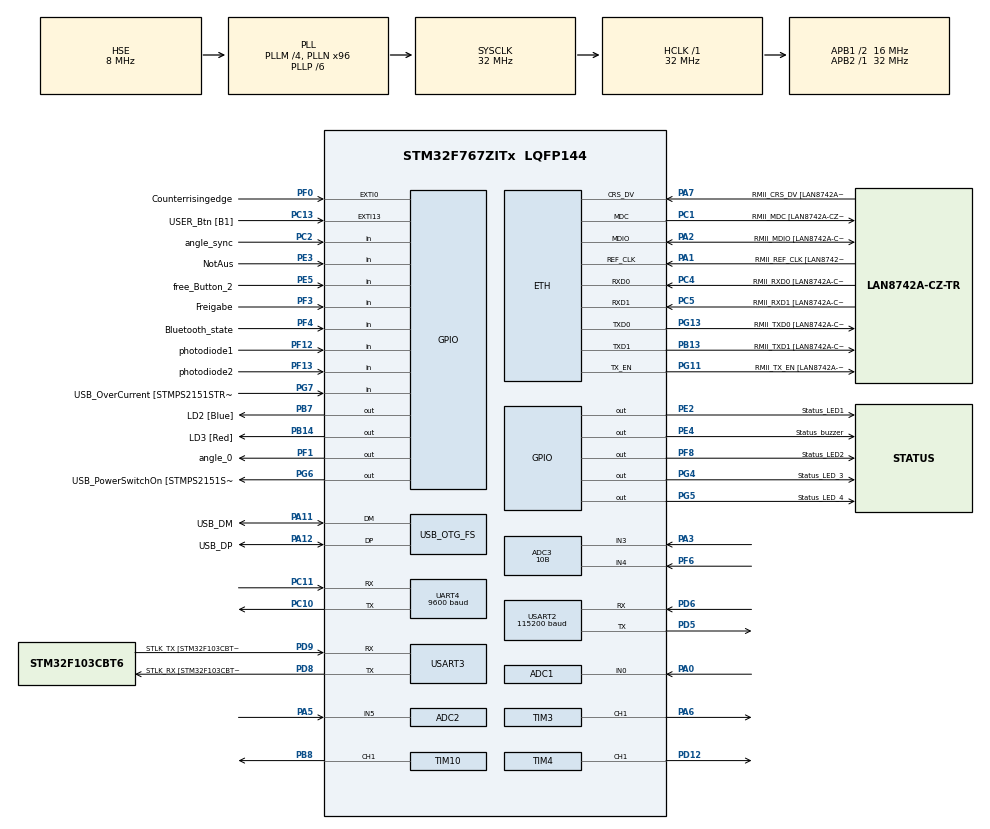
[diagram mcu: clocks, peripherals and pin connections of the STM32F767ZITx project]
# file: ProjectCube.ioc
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ADC1.Channel-1\#ChannelRegularConversion=ADC_CHANNEL_0
ADC1.ClockPrescaler=ADC_CLOCK_SYNC_PCLK_DIV4
ADC1.NbrOfConversion=1
ADC1.NbrOfConversionFlag=1
ADC1.Rank-1\#ChannelRegularConversion=1
ADC1.Resolution=ADC_RESOLUTION_10B
ADC1.SamplingTime-1\#ChannelRegularConversion=ADC_SAMPLETIME_28CYCLES
ADC1.master=1
ADC2.Channel-1\#ChannelRegularConversion=ADC_CHANNEL_5
ADC2.ClockPrescaler=ADC_CLOCK_SYNC_PCLK_DIV4
ADC2.NbrOfConversionFlag=1
ADC2.Rank-1\#ChannelRegularConversion=1
ADC2.SamplingTime-1\#ChannelRegularConversion=ADC_SAMPLETIME_56CYCLES
ADC3.Channel-1\#ChannelRegularConversion=ADC_CHANNEL_3
ADC3.Channel-2\#ChannelRegularConversion=ADC_CHANNEL_4
ADC3.ClockPrescaler=ADC_CLOCK_SYNC_PCLK_DIV4
ADC3.DMAContinuousRequests=ENABLE
ADC3.EOCSelection=ADC_EOC_SEQ_CONV
ADC3.ExternalTrigConv=ADC_EXTERNALTRIGCONV_T1_TRGO
ADC3.NbrOfConversion=2
ADC3.NbrOfConversionFlag=1
ADC3.Rank-1\#ChannelRegularConversion=1
ADC3.Rank-2\#ChannelRegularConversion=2
ADC3.Resolution=ADC_RESOLUTION_10B
ADC3.SamplingTime-1\#ChannelRegularConversion=ADC_SAMPLETIME_15CYCLES
ADC3.SamplingTime-2\#ChannelRegularConversion=ADC_SAMPLETIME_15CYCLES
Dma.ADC3.1.Direction=DMA_PERIPH_TO_MEMORY
Dma.ADC3.1.FIFOMode=DMA_FIFOMODE_DISABLE
Dma.ADC3.1.Instance=DMA2_Stream0
Dma.ADC3.1.MemDataAlignment=DMA_MDATAALIGN_WORD
Dma.ADC3.1.MemInc=DMA_MINC_ENABLE
Dma.ADC3.1.Mode=DMA_CIRCULAR
Dma.ADC3.1.PeriphDataAlignment=DMA_PDATAALIGN_WORD
Dma.ADC3.1.PeriphInc=DMA_PINC_DISABLE
Dma.ADC3.1.Priority=DMA_PRIORITY_LOW
Dma.Request0=USART2_RX
Dma.Request1=ADC3
Dma.Request2=UART4_RX
Dma.UART4_RX.2.Direction=DMA_PERIPH_TO_MEMORY
Dma.UART4_RX.2.FIFOMode=DMA_FIFOMODE_DISABLE
Dma.UART4_RX.2.Instance=DMA1_Stream2
Dma.UART4_RX.2.MemDataAlignment=DMA_MDATAALIGN_BYTE
Dma.UART4_RX.2.MemInc=DMA_MINC_ENABLE
Dma.UART4_RX.2.Mode=DMA_CIRCULAR
Dma.UART4_RX.2.PeriphDataAlignment=DMA_PDATAALIGN_BYTE
Dma.UART4_RX.2.PeriphInc=DMA_PINC_DISABLE
Dma.UART4_RX.2.Priority=DMA_PRIORITY_LOW
Dma.USART2_RX.0.Direction=DMA_PERIPH_TO_MEMORY
Dma.USART2_RX.0.FIFOMode=DMA_FIFOMODE_DISABLE
Dma.USART2_RX.0.Instance=DMA1_Stream5
Dma.USART2_RX.0.MemDataAlignment=DMA_MDATAALIGN_BYTE
Dma.USART2_RX.0.MemInc=DMA_MINC_ENABLE
Dma.USART2_RX.0.Mode=DMA_CIRCULAR
Dma.USART2_RX.0.PeriphDataAlignment=DMA_PDATAALIGN_BYTE
Dma.USART2_RX.0.PeriphInc=DMA_PINC_DISABLE
Dma.USART2_RX.0.Priority=DMA_PRIORITY_LOW
ETH.MediaInterface=ETH_MEDIA_INTERFACE_RMII
ETH.PHY_Name=LAN8742A_PHY_ADDRESS
ETH.PHY_Value=0
ETH.PhyAddress=0
Mcu.Family=STM32F7
Mcu.Name=STM32F767ZITx
Mcu.Package=LQFP144
NVIC.ADC_IRQn=true\:0\:0\:false\:false\:true\:true\:true
NVIC.DMA1_Stream2_IRQn=true\:0\:0\:false\:false\:true\:false\:true
NVIC.DMA1_Stream5_IRQn=true\:0\:0\:false\:false\:true\:false\:true
NVIC.DMA2_Stream0_IRQn=true\:0\:0\:false\:false\:true\:false\:true
NVIC.EXTI0_IRQn=true\:0\:0\:false\:false\:true\:true\:true
NVIC.OTG_FS_IRQn=true\:0\:0\:false\:false\:true\:false\:true
NVIC.PriorityGroup=NVIC_PRIORITYGROUP_4
NVIC.TIM2_IRQn=true\:0\:0\:false\:false\:true\:true\:true
NVIC.UART4_IRQn=true\:0\:0\:false\:false\:true\:true\:true
NVIC.USART2_IRQn=true\:0\:0\:false\:false\:true\:true\:true
PA0/WKUP.Signal=ADCx_IN0
PA1.GPIO_Label=RMII_REF_CLK [LAN8742A-CZ-TR_REFCLK0]
PA1.Mode=RMII
PA1.Signal=ETH_REF_CLK
PA10.GPIO_Label=USB_ID
PA10.Signal=USB_OTG_FS_ID
PA11.GPIO_Label=USB_DM
PA11.Mode=Device_Only
PA11.Signal=USB_OTG_FS_DM
PA12.GPIO_Label=USB_DP
PA12.Mode=Device_Only
PA12.Signal=USB_OTG_FS_DP
PA13.GPIO_Label=TMS
PA13.Mode=Serial_Wire
PA13.Signal=SYS_JTMS-SWDIO
PA14.GPIO_Label=TCK
PA14.Mode=Serial_Wire
PA14.Signal=SYS_JTCK-SWCLK
PA2.GPIO_Label=RMII_MDIO [LAN8742A-CZ-TR_MDIO]
PA2.Mode=RMII
PA2.Signal=ETH_MDIO
PA3.Signal=ADCx_IN3
PA5.Signal=ADCx_IN5
PA6.Signal=S_TIM3_CH1
PA7.GPIO_Label=RMII_CRS_DV [LAN8742A-CZ-TR_CRS_DV]
PA7.Mode=RMII
PA7.Signal=ETH_CRS_DV
PA8.GPIO_Label=USB_SOF [TP1]
PA8.Signal=USB_OTG_FS_SOF
PA9.GPIO_Label=USB_VBUS
PA9.Signal=USB_OTG_FS_VBUS
PB13.GPIO_Label=RMII_TXD1 [LAN8742A-CZ-TR_TXD1]
PB13.Mode=RMII
PB13.Signal=ETH_TXD1
PB14.GPIO_Label=LD3 [Red]
PB14.Signal=GPIO_Output
PB3.GPIO_Label=SWO
PB3.Signal=SYS_JTDO-SWO
PB7.GPIO_Label=LD2 [Blue]
PB7.Signal=GPIO_Output
PB8.Signal=S_TIM10_CH1
PC1.GPIO_Label=RMII_MDC [LAN8742A-CZ-TR_MDC]
PC1.Mode=RMII
PC1.Signal=ETH_MDC
PC10.Mode=Asynchronous
PC10.Signal=UART4_TX
PC11.Mode=Asynchronous
PC11.Signal=UART4_RX
PC13.GPIO_Label=USER_Btn [B1]
PC13.Signal=GPXTI13
PC14/OSC32_IN.Signal=RCC_OSC32_IN
PC15/OSC32_OUT.Signal=RCC_OSC32_OUT
PC2.GPIO_Label=angle_sync
PC2.GPIO_PuPd=GPIO_PULLDOWN
PC2.Signal=GPIO_Input
PC4.GPIO_Label=RMII_RXD0 [LAN8742A-CZ-TR_RXD0]
PC4.Mode=RMII
PC4.Signal=ETH_RXD0
PC5.GPIO_Label=RMII_RXD1 [LAN8742A-CZ-TR_RXD1]
PC5.Mode=RMII
PC5.Signal=ETH_RXD1
PD12.Signal=S_TIM4_CH1
PD5.Mode=Asynchronous
PD5.Signal=USART2_TX
PD6.Mode=Asynchronous
PD6.Signal=USART2_RX
PD8.GPIO_Label=STLK_RX [STM32F103CBT6_PA3]
PD8.Mode=Asynchronous
PD8.Signal=USART3_TX
PD9.GPIO_Label=STLK_TX [STM32F103CBT6_PA2]
PD9.Mode=Asynchronous
PD9.Signal=USART3_RX
PE2.GPIO_Label=Status_LED1
PE2.Signal=GPIO_Output
PE3.GPIO_Label=NotAus
PE3.GPIO_PuPd=GPIO_PULLDOWN
PE3.Signal=GPIO_Input
PE4.GPIO_Label=Status_buzzer
PE4.Signal=GPIO_Output
PE5.GPIO_Label=free_Button_2
PE5.GPIO_PuPd=GPIO_PULLDOWN
PE5.Signal=GPIO_Input
PF0.GPIO_Label=Counterrisingedge
PF0.Signal=GPXTI0
PF1.GPIO_Label=angle_0
PF1.Signal=GPIO_Output
PF12.GPIO_Label=photodiode1
PF12.Signal=GPIO_Input
PF13.GPIO_Label=photodiode2
PF13.Signal=GPIO_Input
PF3.GPIO_Label=Freigabe
PF3.GPIO_PuPd=GPIO_PULLDOWN
PF3.Signal=GPIO_Input
PF4.GPIO_Label=Bluetooth_state
PF4.Signal=GPIO_Input
PF6.Mode=IN4
PF6.Signal=ADC3_IN4
PF8.GPIO_Label=Status_LED2
PF8.Signal=GPIO_Output
PG11.GPIO_Label=RMII_TX_EN [LAN8742A-CZ-TR_TXEN]
PG11.Mode=RMII
PG11.Signal=ETH_TX_EN
PG13.GPIO_Label=RMII_TXD0 [LAN8742A-CZ-TR_TXD0]
PG13.Mode=RMII
PG13.Signal=ETH_TXD0
PG4.GPIO_Label=Status_LED_3
PG4.Signal=GPIO_Output
PG5.GPIO_Label=Status_LED_4
PG5.Signal=GPIO_Output
PG6.GPIO_Label=USB_PowerSwitchOn [STMPS2151STR_EN]
PG6.GPIO_PuPd=GPIO_PULLDOWN
PG6.Signal=GPIO_Output
PG7.GPIO_Label=USB_OverCurrent [STMPS2151STR_FAULT]
PG7.Signal=GPIO_Input
PH0/OSC_IN.GPIO_Label=MCO [STM32F103CBT6_PA8]
PH0/OSC_IN.Mode=HSE-External-Oscillator
PH0/OSC_IN.Signal=RCC_OSC_IN
PH1/OSC_OUT.Mode=HSE-External-Oscillator
PH1/OSC_OUT.Signal=RCC_OSC_OUT
ProjectManager.HeapSize=0x2000
ProjectManager.StackSize=0x4000
ProjectManager.TargetToolchain=MDK-ARM V5
RCC.48MHZClocksFreq_Value=24000000
RCC.AHBFreq_Value=32000000
RCC.APB1CLKDivider=RCC_HCLK_DIV2
RCC.APB1Freq_Value=16000000
RCC.APB1TimFreq_Value=32000000
RCC.APB2Freq_Value=32000000
RCC.APB2TimFreq_Value=32000000
RCC.CortexFreq_Value=32000000
RCC.HCLKFreq_Value=32000000
RCC.HSE_VALUE=8000000
RCC.HSI_VALUE=16000000
RCC.LSE_VALUE=32768
RCC.PLLM=4
RCC.PLLMUL=RCC_PLL_MUL9
RCC.PLLN=96
RCC.PLLP=RCC_PLLP_DIV6
RCC.PLLQ=4
RCC.PRESCALERUSB=RCC_USBCLKSOURCE_PLL_DIV1_5
RCC.SYSCLKFreq_VALUE=32000000
RCC.SYSCLKSource=RCC_SYSCLKSOURCE_PLLCLK
RCC.SYSCLKSourceVirtual=RCC_SYSCLKSOURCE_PLLCLK
RCC.USBFreq_Value=48000000
RCC.VCOOutputFreq_Value=192000000
SH.ADCx_IN0.0=ADC1_IN0,IN0
SH.ADCx_IN3.0=ADC3_IN3,IN3
SH.ADCx_IN5.0=ADC2_IN5,IN5
SH.S_TIM10_CH1.0=TIM10_CH1,PWM Generation1 CH1
SH.S_TIM3_CH1.0=TIM3_CH1,PWM Generation1 CH1
SH.S_TIM4_CH1.0=TIM4_CH1,PWM Generation1 CH1
TIM1.Period=50
TIM1.Prescaler=32000
TIM1.TIM_MasterOutputTrigger=TIM_TRGO_UPDATE
TIM1.TIM_MasterOutputTrigger2=TIM_TRGO2_UPDATE
TIM10.Channel=TIM_CHANNEL_1
TIM10.Period=100
TIM10.Prescaler=6400
TIM2.Period=200
TIM2.Prescaler=32000
TIM2.TIM_MasterOutputTrigger=TIM_TRGO_UPDATE
TIM3.Channel-PWM\ Generation1\ CH1=TIM_CHANNEL_1
TIM3.Period=100
TIM3.Prescaler=6400
TIM3.Pulse-PWM\ Generation1\ CH1=0
TIM4.Channel-PWM\ Generation1\ CH1=TIM_CHANNEL_1
TIM4.Period=10000
TIM4.Prescaler=64
UART4.BaudRate=9600
USART2.BaudRate=115200
USART2.VirtualMode-Asynchronous=VM_ASYNC
USART3.VirtualMode-Asynchronous=VM_ASYNC
USB_DEVICE.CLASS_NAME_FS=CDC
USB_DEVICE.VirtualMode-CDC_FS=Cdc
USB_DEVICE.VirtualModeFS=Cdc_FS
USB_OTG_FS.VirtualMode=Device_Only
VP_TIM10_VS_ClockSourceINT.Mode=Enable_Timer
VP_TIM1_VS_ClockSourceINT.Mode=Internal
VP_TIM2_VS_ClockSourceINT.Mode=Internal
VP_TIM3_VS_ClockSourceINT.Mode=Internal
VP_TIM4_VS_ClockSourceINT.Mode=Internal
VP_USB_DEVICE_VS_USB_DEVICE_CDC_FS.Mode=CDC_FS
board=NUCLEO-F767ZI

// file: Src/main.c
/* USER CODE BEGIN Header */
/**
  ******************************************************************************
  * @file           : main.c
  * @brief          : Main program body
  ******************************************************************************
  * @attention
  *
  * <h2><center>&copy; Copyright (c) 2019 STMicroelectronics.
  * All rights reserved.</center></h2>
  *
  * This software component is licensed by ST under Ultimate Liberty license
  * SLA0044, the "License"; You may not use this file except in compliance with
  * the License. You may obtain a copy of the License at:
  *                             www.st.com/SLA0044
  *
  ******************************************************************************
  */
/* USER CODE END Header */

#include "main.h"
#include "usb_device.h"

/* USER CODE BEGIN Includes */
#include "usbd_cdc_if.h"
#include "MY_FLASH.h"
#include "pid_controller.h"
#include "pid_regler.h"
/* USER CODE END Includes */

ADC_HandleTypeDef hadc1;
ADC_HandleTypeDef hadc2;
ADC_HandleTypeDef hadc3;
DMA_HandleTypeDef hdma_adc3;

ETH_HandleTypeDef heth;

TIM_HandleTypeDef htim1;
TIM_HandleTypeDef htim2;
TIM_HandleTypeDef htim3;
TIM_HandleTypeDef htim4;
TIM_HandleTypeDef htim10;

UART_HandleTypeDef huart4;
UART_HandleTypeDef huart2;
UART_HandleTypeDef huart3;
DMA_HandleTypeDef hdma_uart4_rx;
DMA_HandleTypeDef hdma_usart2_rx;

/* USER CODE BEGIN PV */
uint32_t adcvaluek;					// Distanzsensor ADC value
uint32_t adc_steering;			// Winkelsensor ADC value
uint32_t adcval[2] ;				// Joysticks adc Wert
uint32_t lenken = 0;
uint32_t gas = 0;						// gas & lenk wert
int i = 0;

float sensork;						// Sensorwert in cm
float steering_conv;			// Winkelsensorwert in °
float steering_trailer;
float steering_average[10] = {0};
float steering_conv_avg = 0;
int av =0 ;

// Georg
uint16_t velocity[10000] = {0} ;
int16_t angle[10000] = {0} ;					//Speicherfelder
uint16_t thrust[10000]	= {0};
uint16_t steering[10000] = {0};
uint8_t bluebuffer[4] = {0} ;
uint8_t bluetransbuffer[14];
int statuscount = 0;
int buzzer_count = 0;
int statustest = 0;
int freigabe = 0 ;
int bluestate = 0;
int bluewasset=0;
int bluebuzzer=0 ;
int bluebuzzerdone=0;

//unsigned char velocityASCII[10000] ;		// ASCII Felder wegen UART
//char steeringASCII[10000] ;
int iw=0 ;
int itrans = 0 ;
int icom = 0 ;
int b_count = 0;
int b_sync = 0;
int bluebufferval = 0;
int length = 0 ;
int count_10ms=0 ;
int count_100ms=0 ;							// Verzögerungen
int count_1s=0 ;
int count_100ms_freigabe = 0;
int count_1s_freigabe = 0;
float countspin=0 ;							// Messung von Sensorausgang
float spins = 0 ;								// Umdrehungen Inkrementaldrehgeber
uint8_t spinstrans = 0 ;				// Umdrehungen in 8bit (UART-8bit)
int setval_memory_storage	 = 0 ;
int memory_start = 0 ;
int bluebutton = 0 ;
int memorystorebutton = 0 ;
int autobetrieb=0;							// Fuzzy
int handbetrieb=0;
int angle_sync=0;
int angleconv_sync= 237;
int deleted=0;
int adcvaluekavg[10];
int adcvalue_del =0;
int adcvalue_avg =0;
//Pucher
uint16_t w_velocity[10000] = {0};
int16_t w_angle[10000] = {0};
uint16_t w_thrust[10000] = {0};
uint16_t w_steering[10000] = {0};
uint16_t flasharray_length[1];
uint32_t flash_index = 0;

int curve_was_taken = 0;

int auto_steering = 90; //sollwert
int auto_thrust = 0; //sollwert
int auto_steering_pwm = 0;
int auto_thrust_pwm = 0;
float auto_angle_w = 0; //sollwert
float auto_angle_y = 0; //istwert
int auto_velocity_w = 0; //sollwert
int auto_velocity_y = 0; //istwert

pid_regler_struct pid1;
float Ti = 5;

int photodiode1 = 0;
int photodiode2 = 0;

/* USER CODE END PV */

void SystemClock_Config(void);
static void MX_GPIO_Init(void);
static void MX_DMA_Init(void);
static void MX_ETH_Init(void);
static void MX_USART3_UART_Init(void);
static void MX_ADC1_Init(void);
static void MX_TIM3_Init(void);
static void MX_ADC3_Init(void);
static void MX_TIM4_Init(void);
static void MX_USART2_UART_Init(void);
static void MX_TIM2_Init(void);
static void MX_ADC2_Init(void);
static void MX_TIM1_Init(void);
static void MX_TIM10_Init(void);
static void MX_UART4_Init(void);
/* USER CODE BEGIN PFP */
long map(long x, long in_min, long in_max, long out_min, long out_max) {
	return (x - in_min) * (out_max - out_min) / (in_max - in_min) + out_min;
}

/* USER CODE END PFP */

int main(void)
{
  /* USER CODE BEGIN 1 */
	int setval = 0;
	bluebuffer[1] = 128 ;
	static int32_t uwtick_Hold10ms;
  static int32_t uwtick_Hold100ms;
  static int32_t uwtick_Hold1s;
	static int32_t uwtick_Hold100ms_freigabe;
	static int32_t uwtick_Hold1s_freigabe;
	int uw_count = 0;
	int uw_result = 0;

	uwtick_Hold10ms=0;
  uwtick_Hold100ms=0;
  uwtick_Hold1s=0;
	uwtick_Hold100ms_freigabe = 0;
	uwtick_Hold1s_freigabe = 0;

	bluetransbuffer[1] = 1;
	bluetransbuffer[2] = 2;
	bluetransbuffer[3] = 3;
	bluetransbuffer[4] = 4;
	bluetransbuffer[5] = 5;
	bluetransbuffer[6] = 6;
	bluetransbuffer[7] = 7;
	bluetransbuffer[8] = 8;
	bluetransbuffer[9] = 9;
	bluetransbuffer[10] = 10;
	bluetransbuffer[11] = 11;
	bluetransbuffer[12] = 12;
  /* USER CODE END 1 */

  /* MCU Configuration--------------------------------------------------------*/

  /* Reset of all peripherals, Initializes the Flash interface and the Systick. */
  HAL_Init();

  /* Configure the system clock */
  SystemClock_Config();

  /* Initialize all configured peripherals */
  MX_GPIO_Init();
  MX_DMA_Init();
  MX_ETH_Init();
  MX_USART3_UART_Init();
  MX_ADC1_Init();
  MX_TIM3_Init();
  MX_USB_DEVICE_Init();
  MX_ADC3_Init();
  MX_TIM4_Init();
  MX_USART2_UART_Init();
  MX_TIM2_Init();
  MX_ADC2_Init();
  MX_TIM1_Init();
  MX_TIM10_Init();
  MX_UART4_Init();
  /* USER CODE BEGIN 2 */
	HAL_TIM_PWM_Start(&htim3, TIM_CHANNEL_1); //Start the Motor PWM
	HAL_TIM_PWM_Start(&htim10, TIM_CHANNEL_1) ;
	HAL_TIM_PWM_Start(&htim4, TIM_CHANNEL_1); //Start the servo PWM
	HAL_TIM_Base_Start_IT(&htim2) ;

	HAL_TIM_Base_Start(&htim1) ;					// Timer für ADC Abfrage
	HAL_ADC_Start_DMA(&hadc3,adcval,2) ;	// DMA Abfrage von ADC value, Speicherung in adcval0 und adcval 1

	HAL_UART_Receive_DMA(&huart4,bluebuffer,sizeof(bluebuffer)) ;

	//MOTOR / SERVO DEFAULT BEGIN
	__HAL_TIM_SET_COMPARE(&htim3, TIM_CHANNEL_1, 0); //default kein Gas
	htim4.Instance->CCR1 = 750; //default 90°
	//MOTOR / SERVO DEFAULT END

	//FLASH READ BEGIN
	//Flash auslesen -> Anzahl gespeicherter Werte, Sollwertkurve |
	//Flasharray Length
//	MY_FLASH_SetSectorAddrs(7, 0x080C0000);
//	MY_FLASH_ReadN(0, flasharray_length, 1, DATA_TYPE_16);
//
//	//Velocity
//	MY_FLASH_SetSectorAddrs(8, 0x08100000);
//	MY_FLASH_ReadN(0, w_velocity, flasharray_length[0], DATA_TYPE_16);

//	//Angle
//	MY_FLASH_SetSectorAddrs(9, 0x08140000);
//	MY_FLASH_ReadN(0, w_angle, flasharray_length[0], DATA_TYPE_16);

//	//Thrust
//	MY_FLASH_SetSectorAddrs(10, 0x08180000);
//	MY_FLASH_ReadN(0, w_thrust, flasharray_length[0], DATA_TYPE_16);
//
//	//Steering
//	MY_FLASH_SetSectorAddrs(11, 0x081C0000);
//	MY_FLASH_ReadN(0, w_steering, flasharray_length[0], DATA_TYPE_16);
	//FLASH READ END

//REGLER INITIALISIEREN

pid1.kp = 1.5;
pid1.ki = 1/Ti;
pid1.kd = 0;
pid1.T = 0.01;
pid1.u_min = -30;
pid1.u_max = 30;

pid_init(&pid1);

  /* USER CODE END 2 */

  /* Infinite loop */
  while (1)
  {

    /* USER CODE BEGIN 3 */

//		if(HAL_GPIO_ReadPin(Flash_start_GPIO_Port, Flash_start_Pin))			// Übertragung Start
//		{	memory_start = 1 ;
//
//		}
//		if(HAL_GPIO_ReadPin(Flash_stop_GPIO_Port,Flash_stop_Pin))
//		{	memory_start = 2 ;
//			memorystorebutton++;
//			curve_was_taken = 2;
//		}

		while(freigabe==0)	{

			HAL_GPIO_WritePin(Status_LED1_GPIO_Port,Status_LED1_Pin,GPIO_PIN_SET);
			HAL_GPIO_WritePin(Status_LED2_GPIO_Port,Status_LED2_Pin,GPIO_PIN_SET);
			HAL_GPIO_WritePin(Status_LED_3_GPIO_Port,Status_LED_3_Pin,GPIO_PIN_SET);
			HAL_GPIO_WritePin(Status_LED_4_GPIO_Port,Status_LED_4_Pin,GPIO_PIN_SET);

			if(HAL_GPIO_ReadPin(Freigabe_GPIO_Port,Freigabe_Pin))	{
				freigabe=1;
		}
			uw_count=uwTick ;
	}

	while(freigabe==1)	{

//		if(HAL_GPIO_ReadPin(Freigabe_GPIO_Port,Freigabe_Pin))	{
//				freigabe=0 ;
//			}

		uw_result = uwTick - uw_count ;

		if((bluebuffer[3]==16) || (bluebuffer[3]==24) ){						//Abfrage ob Handbetrieb
				autobetrieb= 1;																					// oder Autobetrieb
				handbetrieb= 0;
		}
		else	{
				autobetrieb= 0;
				handbetrieb= 1;
		}
		if((bluebuffer[3] == 8))	{
				angle_sync = 1;
		}

		HAL_UART_Transmit(&huart4,bluetransbuffer,sizeof(bluetransbuffer),20);

		//PHOTODIODE
		if(HAL_GPIO_ReadPin(photodiode1_GPIO_Port, photodiode1_Pin)) {
			photodiode1	= 1;
		} else {
			photodiode1 = 0;
		}

		if(HAL_GPIO_ReadPin(photodiode2_GPIO_Port, photodiode2_Pin)) {
			photodiode2	= 1;
		} else {
			photodiode2 = 0;
		}

		if(HAL_GPIO_ReadPin(Bluetooth_state_GPIO_Port, Bluetooth_state_Pin))	{
			bluestate=1;
			bluebuzzerdone=0;
		}
		else	{
			bluestate=0;
			bluewasset=1;
		}

		if(icom>=9999)
			icom=9999 ;
		if(icom<0)
			icom=0;

		if(angle_sync==1)	{
			angleconv_sync = steering_conv_avg;
			angle_sync=0 ;
		}

		if((!photodiode1) && (!photodiode2)){ //inverse logik! aufpassen! 0° heißt beide sind LOW
			angleconv_sync = steering_conv_avg;
		}

		if( uw_result - uwtick_Hold10ms >= 10 ) {			// 10ms Zykluszeit
			uwtick_Hold10ms += 10;
			count_10ms++;

		HAL_ADC_Start(&hadc1);
		if(HAL_ADC_PollForConversion(&hadc1,10) == HAL_OK)	{			// Single conversion für Distanz
			adcvaluek = HAL_ADC_GetValue(&hadc1);
			sensork=2*(2076.0/(adcvaluek-11));
//			if(adcvaluek<=1){
//				adcvaluek=35;
//			}
//			adcvalue_del=adcvaluekavg[9];
//			adcvaluekavg[9]=adcvaluekavg[8];
//			adcvaluekavg[8]=adcvaluekavg[7];
//			adcvaluekavg[7]=adcvaluekavg[6];
//			adcvaluekavg[6]=adcvaluekavg[5];
//			adcvaluekavg[5]=adcvaluekavg[4];
//			adcvaluekavg[4]=adcvaluekavg[3];
//			adcvaluekavg[3]=adcvaluekavg[2];
//			adcvaluekavg[2]=adcvaluekavg[1];
//			adcvaluekavg[1]=adcvaluekavg[0];
//			adcvaluekavg[0]=adcvaluek;
//
//			adcvalue_avg = (adcvaluekavg[9]+adcvaluekavg[8]+adcvaluekavg[7]+adcvaluekavg[6]+adcvaluekavg[5]+adcvaluekavg[4]+adcvaluekavg[3]+adcvaluekavg[2]+adcvaluekavg[1]+adcvaluekavg[0])/10 ;

		}

		HAL_ADC_Start(&hadc2);
		if(HAL_ADC_PollForConversion(&hadc2,10) == HAL_OK)	{			// Single conversion für Winkel
				adc_steering = HAL_ADC_GetValue(&hadc2);
				steering_conv = map(adc_steering,500,4000,0,360) ;
					if(steering_conv<0){
						steering_conv=0;
					}
//		if(av<=10){
//			steering_average = steering_average+steering_conv;
//			av++;
//		}
//
//		if(av==11){
//			steering_conv_avg = steering_average/10;
//			av=0;
//			steering_average=0;
//		}

		if(steering_conv_avg >= angleconv_sync){
			steering_trailer = map(steering_conv_avg, angleconv_sync, angleconv_sync-90, 0, 90);					// Adcvals werden mit gas und lenken gemapt, sprich, umgewandelt in gewünschte werte
		}

		if(steering_conv_avg < angleconv_sync){
			steering_trailer = map(steering_conv_avg, angleconv_sync, angleconv_sync+90, 0 , -90);
		}

		if(!photodiode1 && !photodiode2){
			HAL_GPIO_WritePin(angle_0_GPIO_Port,angle_0_Pin,GPIO_PIN_SET) ;
		}

		if(photodiode1 && photodiode2){
				HAL_GPIO_WritePin(angle_0_GPIO_Port,angle_0_Pin,GPIO_PIN_RESET) ;
				}

		}

		// REGLER 10ms
		pid1.freigabe = ON;
		pid1.w = auto_angle_w;
		pid1.x = auto_angle_y;
		pid_calc(&pid1);

		if(count_10ms%2==0)	{ //Pucher 20ms begin
			if(setval_memory_storage==1){
				if(memory_start==1){
					curve_was_taken = 1;
					velocity[icom]=	spinstrans ;		// Übergabe der Sensorwerte
					angle[icom]= steering_trailer ;
					steering[icom] = lenken ;
					thrust[icom] = gas ;
//					snprintf(velocityASCII,10000,"v %d\r",velocity[icom]) ;
//					snprintf(steeringASCII,10000,"\ts %d\n\r",steering[icom]) ;	// Umwandlung in ASCII
//					HAL_UART_Transmit(&huart3,velocityASCII,sizeof(velocityASCII),1);		// Übertragung über UART
//					HAL_UART_Transmit(&huart3,steeringASCII,sizeof(steeringASCII),1);
					icom++ ;
				}
				if((memory_start==2)||(icom>=9999)){
					velocity[icom]=	0 ;
					angle[icom]= steering_trailer ;
					steering[icom] = lenken ;
					thrust[icom] = 0 ;
					flasharray_length[0] = icom+1;	//memory_start= 0 einfügen?
					flash_index = icom;
				}
			}

				//SOLLWERTKURVE BEGIN
//				if(autobetrieb){
//					if(i_w >= 168){
//						i_w = 168;
//						auto_start_selfcontrol = 0;
//					}
//					if(i_w <= 0)
//						i_w = 0;
//				}
//				if((autobetrieb) && (auto_start_selfcontrol)){
//					auto_steering = w_steering[i_w];
//					auto_thrust = w_thrust[i_w];
//					auto_velocity_w = w_velocity[i_w];
//					auto_angle_w = w_angle[i_w];
//					i_w++;
//				}

				//SOLLWERTKURVE END
			}//Pucher 20ms end
		}	// 10ms Ende

		deleted=steering_average[9];
		steering_average[9]=steering_average[8];
		steering_average[8]=steering_average[7];
		steering_average[7]=steering_average[6];
		steering_average[6]=steering_average[5];
		steering_average[5]=steering_average[4];
		steering_average[4]=steering_average[3];
		steering_average[3]=steering_average[2];
		steering_average[2]=steering_average[1];
		steering_average[1]=steering_average[0];
		steering_average[0]=steering_conv;

		steering_conv_avg = (steering_average[9] + steering_average[8] + steering_average[7] + steering_average[6] + steering_average[5] + steering_average[4] + steering_average[3] + steering_average[2] + steering_average[1] + steering_average[0])/10 ;

		if( uw_result - uwtick_Hold100ms >= 100 ) {																			// 100ms Zykluszeit
			uwtick_Hold100ms += 100;
			count_100ms++;

			//ISTWERT
				auto_angle_y = steering_trailer;

				if((count_100ms%7)==0){
					if(statuscount<=8)	{
						HAL_GPIO_TogglePin(Status_LED1_GPIO_Port,Status_LED1_Pin);
						HAL_GPIO_TogglePin(Status_LED2_GPIO_Port,Status_LED2_Pin);
						HAL_GPIO_TogglePin(Status_LED_3_GPIO_Port,Status_LED_3_Pin);
						HAL_GPIO_TogglePin(Status_LED_4_GPIO_Port,Status_LED_4_Pin);
						statuscount++;
						}
					else	{
						HAL_GPIO_WritePin(Status_LED1_GPIO_Port,Status_LED1_Pin,GPIO_PIN_RESET);
						HAL_GPIO_WritePin(Status_LED2_GPIO_Port,Status_LED2_Pin,GPIO_PIN_RESET);
						HAL_GPIO_WritePin(Status_LED_3_GPIO_Port,Status_LED_3_Pin,GPIO_PIN_RESET);
						HAL_GPIO_WritePin(Status_LED_4_GPIO_Port,Status_LED_4_Pin,GPIO_PIN_RESET);
					}
				}

			if((bluestate==0)&&(bluewasset==1)){
						HAL_GPIO_WritePin(Status_LED1_GPIO_Port,Status_LED1_Pin,GPIO_PIN_SET);
						HAL_GPIO_WritePin(Status_LED2_GPIO_Port,Status_LED2_Pin,GPIO_PIN_SET);
						HAL_GPIO_WritePin(Status_LED_3_GPIO_Port,Status_LED_3_Pin,GPIO_PIN_SET);
						HAL_GPIO_WritePin(Status_LED_4_GPIO_Port,Status_LED_4_Pin,GPIO_PIN_SET);
			}
			if((bluestate==1)&&(bluewasset==1))	{
						HAL_GPIO_WritePin(Status_LED1_GPIO_Port,Status_LED1_Pin,GPIO_PIN_RESET);
						HAL_GPIO_WritePin(Status_LED2_GPIO_Port,Status_LED2_Pin,GPIO_PIN_RESET);
						HAL_GPIO_WritePin(Status_LED_3_GPIO_Port,Status_LED_3_Pin,GPIO_PIN_RESET);
						HAL_GPIO_WritePin(Status_LED_4_GPIO_Port,Status_LED_4_Pin,GPIO_PIN_RESET);
						bluewasset=0;
			}

			if(adc_steering<=50){
				if((count_100ms%14)==0){
					HAL_GPIO_TogglePin(Status_LED1_GPIO_Port,Status_LED1_Pin);
					HAL_GPIO_TogglePin(Status_LED2_GPIO_Port,Status_LED2_Pin);
					HAL_GPIO_TogglePin(Status_LED_3_GPIO_Port,Status_LED_3_Pin);
					HAL_GPIO_TogglePin(Status_LED_4_GPIO_Port,Status_LED_4_Pin);
				}
			}

		}	// 100ms Ende

		if( uw_result - uwtick_Hold1s >= 1000 ) {																				// 1s Zykluszeit
			uwtick_Hold1s += 1000;
			count_1s++;

				if(buzzer_count<=3)	{
					HAL_GPIO_WritePin(Status_buzzer_GPIO_Port,Status_buzzer_Pin,GPIO_PIN_SET);
					buzzer_count++;
				}
				else	{
					HAL_GPIO_WritePin(Status_buzzer_GPIO_Port,Status_buzzer_Pin,GPIO_PIN_RESET);
				}

				if((bluestate==0)&&(bluewasset==1)&&(bluebuzzerdone==0)){
					if(bluebuzzer<=1){
					HAL_GPIO_WritePin(Status_buzzer_GPIO_Port,Status_buzzer_Pin,GPIO_PIN_SET);
					bluebuzzer++;
				}
			}
				if(bluebuzzer>1)	{
					HAL_GPIO_WritePin(Status_buzzer_GPIO_Port,Status_buzzer_Pin,GPIO_PIN_RESET);
					bluebuzzer=0;
					bluebuzzerdone=1;
				}

		}		// 1s Ende

		if(HAL_GPIO_ReadPin(NotAus_GPIO_Port, NotAus_Pin)) {								// NOT-Aus
			__HAL_TIM_SET_COMPARE(&htim3, TIM_CHANNEL_1, 0);
			__HAL_TIM_DISABLE(&htim3);
			__HAL_TIM_SET_COMPARE(&htim10, TIM_CHANNEL_1, 0) ;
			__HAL_TIM_DISABLE(&htim10) ;
			while(1){}
		}

		/* Fuzzy
		*/
		if((autobetrieb==1)&&(handbetrieb == 0)){
		//Pucher autobetrieb BEGINN///////////////////////////////
		setval_memory_storage = 0 ;

		//Berechnung der Lenk-,Gas-Werte und Schalten der zugehörigen PWM-GPIOs
		//Lenkung - Steering

		if(bluebuffer[2] >= 90){
			auto_angle_w = map(bluebuffer[2], 90, 120, 0, 25);
		}

		if(bluebuffer[2] < 90){
			auto_angle_w = map(bluebuffer[2], 60, 90, -25 , 0);
		}
		//auto_angle_w = Sollwert

		//werte von regler übernehmen, limitieren, und auf den servo schreiben.
		auto_steering = 90-(pid1.u);

		if(auto_steering > 135)
			auto_steering = 135;
		if(auto_steering < 45)
			auto_steering = 45;
		auto_steering_pwm = map(auto_steering, 0, 180, 250, 1250);

		htim4.Instance->CCR1 = auto_steering_pwm;

		//Motor - Thrust
			if(bluebuffer[1]<=128)	{
			if(bluebuffer[1]<=0){
				bluebuffer[1] = 0;
			}
			auto_thrust = map(bluebuffer[1],128,0,0,31);

			if(auto_thrust < 7)
				auto_thrust = 0;
			if(auto_thrust >= 30)
				auto_thrust = 30;

		__HAL_TIM_SET_COMPARE(&htim3, TIM_CHANNEL_1, auto_thrust);
		}

//		if(adcval[0]>=509)	{
//			if(adcval[0] >= 754)
//				adcval[0] = 754;
//			auto_thrust = map(adcval[0], 509, 754 , 0, 31);
//		}
//
//		if(auto_thrust < 7)
//			auto_thrust = 0;
//		if(auto_thrust >= 30)
//			auto_thrust = 30;
//
//
//		__HAL_TIM_SET_COMPARE(&htim3, TIM_CHANNEL_1, auto_thrust);

		}//autobetrieb ENDE///////////////////////////////////////

		if((handbetrieb == 1)&&(autobetrieb == 0)){
			setval_memory_storage=1 ;

			if(curve_was_taken == 2){ //wenn eine kurvenaufnahme gestartet und beendet wurde, dann werden die Werte der Sollkurve in den Flashspeicher geschrieben
			//Flash schreiben -> Anzahl gespeicherter Werte, Sollwertkurve
			//Flasharray Length
			MY_FLASH_SetSectorAddrs(7, 0x080C0000);
			MY_FLASH_WriteN(0, &flash_index, 1, DATA_TYPE_16);

			//Velocity
			MY_FLASH_SetSectorAddrs(8, 0x08100000);
			MY_FLASH_WriteN(0, velocity, flash_index, DATA_TYPE_16);

			//Angle
			MY_FLASH_SetSectorAddrs(9, 0x08140000);
			MY_FLASH_WriteN(0, angle, flash_index, DATA_TYPE_16);

			//Thrust
			MY_FLASH_SetSectorAddrs(10, 0x08180000);
			MY_FLASH_WriteN(0, thrust, flash_index, DATA_TYPE_16);

			//Steering
			MY_FLASH_SetSectorAddrs(11, 0x081C0000);
			MY_FLASH_WriteN(0, steering, flash_index, DATA_TYPE_16);

			curve_was_taken = 0;

			HAL_Delay(5000);
			}

			lenken = bluebuffer[2] ;

			i = map(lenken, 0, 180, 250, 1250);

			htim4.Instance->CCR1 = i;

			if(bluebuffer[1]>=128)	{
				if(bluebuffer[1] >= 255)
					bluebuffer[1] = 255;

				gas = map(bluebuffer[1], 128, 255 , 0, 31);

				if(gas < 7)
					gas = 0;

				__HAL_TIM_SET_COMPARE(&htim10, TIM_CHANNEL_1, gas);
			}
			if(bluebuffer[1]<=128)	{
				if(bluebuffer[1]<=0){
					bluebuffer[1] = 0;
				}
				gas = map(bluebuffer[1],128,0,0,31);

				if(gas < 7)
					gas = 0;

				__HAL_TIM_SET_COMPARE(&htim3, TIM_CHANNEL_1, gas);
			}

			pid_init(&pid1);

		}

		if((sensork>0.1)&&(sensork<=6)){
			__HAL_TIM_SET_COMPARE(&htim3, TIM_CHANNEL_1,0);
		}

  }

	}	// while end
  /* USER CODE END 3 */
}

void SystemClock_Config(void)
{
  RCC_OscInitTypeDef RCC_OscInitStruct = {0};
  RCC_ClkInitTypeDef RCC_ClkInitStruct = {0};
  RCC_PeriphCLKInitTypeDef PeriphClkInitStruct = {0};

  /** Configure the main internal regulator output voltage
  */
  __HAL_RCC_PWR_CLK_ENABLE();
  __HAL_PWR_VOLTAGESCALING_CONFIG(PWR_REGULATOR_VOLTAGE_SCALE3);
  /** Initializes the CPU, AHB and APB busses clocks
  */
  RCC_OscInitStruct.OscillatorType = RCC_OSCILLATORTYPE_HSE;
  RCC_OscInitStruct.HSEState = RCC_HSE_ON;
  RCC_OscInitStruct.PLL.PLLState = RCC_PLL_ON;
  RCC_OscInitStruct.PLL.PLLSource = RCC_PLLSOURCE_HSE;
  RCC_OscInitStruct.PLL.PLLM = 4;
  RCC_OscInitStruct.PLL.PLLN = 96;
  RCC_OscInitStruct.PLL.PLLP = RCC_PLLP_DIV6;
  RCC_OscInitStruct.PLL.PLLQ = 4;
  if (HAL_RCC_OscConfig(&RCC_OscInitStruct) != HAL_OK)
  {
    Error_Handler();
  }
  /** Initializes the CPU, AHB and APB busses clocks
  */
  RCC_ClkInitStruct.ClockType = RCC_CLOCKTYPE_HCLK|RCC_CLOCKTYPE_SYSCLK
                              |RCC_CLOCKTYPE_PCLK1|RCC_CLOCKTYPE_PCLK2;
  RCC_ClkInitStruct.SYSCLKSource = RCC_SYSCLKSOURCE_PLLCLK;
  RCC_ClkInitStruct.AHBCLKDivider = RCC_SYSCLK_DIV1;
  RCC_ClkInitStruct.APB1CLKDivider = RCC_HCLK_DIV2;
  RCC_ClkInitStruct.APB2CLKDivider = RCC_HCLK_DIV1;

  if (HAL_RCC_ClockConfig(&RCC_ClkInitStruct, FLASH_LATENCY_1) != HAL_OK)
  {
    Error_Handler();
  }
  PeriphClkInitStruct.PeriphClockSelection = RCC_PERIPHCLK_USART2|RCC_PERIPHCLK_USART3
                              |RCC_PERIPHCLK_UART4|RCC_PERIPHCLK_CLK48;
  PeriphClkInitStruct.Usart2ClockSelection = RCC_USART2CLKSOURCE_PCLK1;
  PeriphClkInitStruct.Usart3ClockSelection = RCC_USART3CLKSOURCE_PCLK1;
  PeriphClkInitStruct.Uart4ClockSelection = RCC_UART4CLKSOURCE_PCLK1;
  PeriphClkInitStruct.Clk48ClockSelection = RCC_CLK48SOURCE_PLL;
  if (HAL_RCCEx_PeriphCLKConfig(&PeriphClkInitStruct) != HAL_OK)
  {
    Error_Handler();
  }
}

static void MX_ADC1_Init(void)
{

  ADC_ChannelConfTypeDef sConfig = {0};

  /** Configure the global features of the ADC (Clock, Resolution, Data Alignment and number of conversion)
  */
  hadc1.Instance = ADC1;
  hadc1.Init.ClockPrescaler = ADC_CLOCK_SYNC_PCLK_DIV4;
  hadc1.Init.Resolution = ADC_RESOLUTION_10B;
  hadc1.Init.ScanConvMode = ADC_SCAN_DISABLE;
  hadc1.Init.ContinuousConvMode = DISABLE;
  hadc1.Init.DiscontinuousConvMode = DISABLE;
  hadc1.Init.ExternalTrigConvEdge = ADC_EXTERNALTRIGCONVEDGE_NONE;
  hadc1.Init.ExternalTrigConv = ADC_SOFTWARE_START;
  hadc1.Init.DataAlign = ADC_DATAALIGN_RIGHT;
  hadc1.Init.NbrOfConversion = 1;
  hadc1.Init.DMAContinuousRequests = DISABLE;
  hadc1.Init.EOCSelection = ADC_EOC_SINGLE_CONV;
  if (HAL_ADC_Init(&hadc1) != HAL_OK)
  {
    Error_Handler();
  }
  /** Configure for the selected ADC regular channel its corresponding rank in the sequencer and its sample time.
  */
  sConfig.Channel = ADC_CHANNEL_0;
  sConfig.Rank = ADC_REGULAR_RANK_1;
  sConfig.SamplingTime = ADC_SAMPLETIME_28CYCLES;
  if (HAL_ADC_ConfigChannel(&hadc1, &sConfig) != HAL_OK)
  {
    Error_Handler();
  }

}

static void MX_ADC2_Init(void)
{

  ADC_ChannelConfTypeDef sConfig = {0};

  /** Configure the global features of the ADC (Clock, Resolution, Data Alignment and number of conversion)
  */
  hadc2.Instance = ADC2;
  hadc2.Init.ClockPrescaler = ADC_CLOCK_SYNC_PCLK_DIV4;
  hadc2.Init.Resolution = ADC_RESOLUTION_12B;
  hadc2.Init.ScanConvMode = ADC_SCAN_DISABLE;
  hadc2.Init.ContinuousConvMode = DISABLE;
  hadc2.Init.DiscontinuousConvMode = DISABLE;
  hadc2.Init.ExternalTrigConvEdge = ADC_EXTERNALTRIGCONVEDGE_NONE;
  hadc2.Init.ExternalTrigConv = ADC_SOFTWARE_START;
  hadc2.Init.DataAlign = ADC_DATAALIGN_RIGHT;
  hadc2.Init.NbrOfConversion = 1;
  hadc2.Init.DMAContinuousRequests = DISABLE;
  hadc2.Init.EOCSelection = ADC_EOC_SINGLE_CONV;
  if (HAL_ADC_Init(&hadc2) != HAL_OK)
  {
    Error_Handler();
  }
  /** Configure for the selected ADC regular channel its corresponding rank in the sequencer and its sample time.
  */
  sConfig.Channel = ADC_CHANNEL_5;
  sConfig.Rank = ADC_REGULAR_RANK_1;
  sConfig.SamplingTime = ADC_SAMPLETIME_56CYCLES;
  if (HAL_ADC_ConfigChannel(&hadc2, &sConfig) != HAL_OK)
  {
    Error_Handler();
  }

}

static void MX_ADC3_Init(void)
{

  ADC_ChannelConfTypeDef sConfig = {0};

  /** Configure the global features of the ADC (Clock, Resolution, Data Alignment and number of conversion)
  */
  hadc3.Instance = ADC3;
  hadc3.Init.ClockPrescaler = ADC_CLOCK_SYNC_PCLK_DIV4;
  hadc3.Init.Resolution = ADC_RESOLUTION_10B;
  hadc3.Init.ScanConvMode = ADC_SCAN_ENABLE;
  hadc3.Init.ContinuousConvMode = DISABLE;
  hadc3.Init.DiscontinuousConvMode = DISABLE;
  hadc3.Init.ExternalTrigConvEdge = ADC_EXTERNALTRIGCONVEDGE_RISING;
  hadc3.Init.ExternalTrigConv = ADC_EXTERNALTRIGCONV_T1_TRGO;
  hadc3.Init.DataAlign = ADC_DATAALIGN_RIGHT;
  hadc3.Init.NbrOfConversion = 2;
  hadc3.Init.DMAContinuousRequests = ENABLE;
  hadc3.Init.EOCSelection = ADC_EOC_SEQ_CONV;
  if (HAL_ADC_Init(&hadc3) != HAL_OK)
  {
    Error_Handler();
  }
  /** Configure for the selected ADC regular channel its corresponding rank in the sequencer and its sample time.
  */
  sConfig.Channel = ADC_CHANNEL_3;
  sConfig.Rank = ADC_REGULAR_RANK_1;
  sConfig.SamplingTime = ADC_SAMPLETIME_15CYCLES;
  if (HAL_ADC_ConfigChannel(&hadc3, &sConfig) != HAL_OK)
  {
    Error_Handler();
  }
  /** Configure for the selected ADC regular channel its corresponding rank in the sequencer and its sample time.
  */
  sConfig.Channel = ADC_CHANNEL_4;
  sConfig.Rank = ADC_REGULAR_RANK_2;
  if (HAL_ADC_ConfigChannel(&hadc3, &sConfig) != HAL_OK)
  {
    Error_Handler();
  }

}

static void MX_ETH_Init(void)
{

  heth.Instance = ETH;
  heth.Init.AutoNegotiation = ETH_AUTONEGOTIATION_ENABLE;
  heth.Init.PhyAddress = LAN8742A_PHY_ADDRESS;
  heth.Init.MACAddr[0] =   0x00;
  heth.Init.MACAddr[1] =   0x80;
  heth.Init.MACAddr[2] =   0xE1;
  heth.Init.MACAddr[3] =   0x00;
  heth.Init.MACAddr[4] =   0x00;
  heth.Init.MACAddr[5] =   0x00;
  heth.Init.RxMode = ETH_RXPOLLING_MODE;
  heth.Init.ChecksumMode = ETH_CHECKSUM_BY_HARDWARE;
  heth.Init.MediaInterface = ETH_MEDIA_INTERFACE_RMII;

  if (HAL_ETH_Init(&heth) != HAL_OK)
  {
    Error_Handler();
  }

}

static void MX_TIM1_Init(void)
{

  TIM_ClockConfigTypeDef sClockSourceConfig = {0};
  TIM_MasterConfigTypeDef sMasterConfig = {0};

  htim1.Instance = TIM1;
  htim1.Init.Prescaler = 32000;
  htim1.Init.CounterMode = TIM_COUNTERMODE_UP;
  htim1.Init.Period = 50;
  htim1.Init.ClockDivision = TIM_CLOCKDIVISION_DIV1;
  htim1.Init.RepetitionCounter = 0;
  htim1.Init.AutoReloadPreload = TIM_AUTORELOAD_PRELOAD_DISABLE;
  if (HAL_TIM_Base_Init(&htim1) != HAL_OK)
  {
    Error_Handler();
  }
  sClockSourceConfig.ClockSource = TIM_CLOCKSOURCE_INTERNAL;
  if (HAL_TIM_ConfigClockSource(&htim1, &sClockSourceConfig) != HAL_OK)
  {
    Error_Handler();
  }
  sMasterConfig.MasterOutputTrigger = TIM_TRGO_UPDATE;
  sMasterConfig.MasterOutputTrigger2 = TIM_TRGO2_UPDATE;
  sMasterConfig.MasterSlaveMode = TIM_MASTERSLAVEMODE_DISABLE;
  if (HAL_TIMEx_MasterConfigSynchronization(&htim1, &sMasterConfig) != HAL_OK)
  {
    Error_Handler();
  }

}

static void MX_TIM2_Init(void)
{

  TIM_ClockConfigTypeDef sClockSourceConfig = {0};
  TIM_MasterConfigTypeDef sMasterConfig = {0};

  htim2.Instance = TIM2;
  htim2.Init.Prescaler = 32000;
  htim2.Init.CounterMode = TIM_COUNTERMODE_UP;
  htim2.Init.Period = 200;
  htim2.Init.ClockDivision = TIM_CLOCKDIVISION_DIV1;
  htim2.Init.AutoReloadPreload = TIM_AUTORELOAD_PRELOAD_DISABLE;
  if (HAL_TIM_Base_Init(&htim2) != HAL_OK)
  {
    Error_Handler();
  }
  sClockSourceConfig.ClockSource = TIM_CLOCKSOURCE_INTERNAL;
  if (HAL_TIM_ConfigClockSource(&htim2, &sClockSourceConfig) != HAL_OK)
  {
    Error_Handler();
  }
  sMasterConfig.MasterOutputTrigger = TIM_TRGO_UPDATE;
  sMasterConfig.MasterSlaveMode = TIM_MASTERSLAVEMODE_DISABLE;
  if (HAL_TIMEx_MasterConfigSynchronization(&htim2, &sMasterConfig) != HAL_OK)
  {
    Error_Handler();
  }

}

static void MX_TIM3_Init(void)
{

  TIM_ClockConfigTypeDef sClockSourceConfig = {0};
  TIM_MasterConfigTypeDef sMasterConfig = {0};
  TIM_OC_InitTypeDef sConfigOC = {0};

  htim3.Instance = TIM3;
  htim3.Init.Prescaler = 6400;
  htim3.Init.CounterMode = TIM_COUNTERMODE_UP;
  htim3.Init.Period = 100;
  htim3.Init.ClockDivision = TIM_CLOCKDIVISION_DIV1;
  htim3.Init.AutoReloadPreload = TIM_AUTORELOAD_PRELOAD_DISABLE;
  if (HAL_TIM_Base_Init(&htim3) != HAL_OK)
  {
    Error_Handler();
  }
  sClockSourceConfig.ClockSource = TIM_CLOCKSOURCE_INTERNAL;
  if (HAL_TIM_ConfigClockSource(&htim3, &sClockSourceConfig) != HAL_OK)
  {
    Error_Handler();
  }
  if (HAL_TIM_PWM_Init(&htim3) != HAL_OK)
  {
    Error_Handler();
  }
  sMasterConfig.MasterOutputTrigger = TIM_TRGO_RESET;
  sMasterConfig.MasterSlaveMode = TIM_MASTERSLAVEMODE_DISABLE;
  if (HAL_TIMEx_MasterConfigSynchronization(&htim3, &sMasterConfig) != HAL_OK)
  {
    Error_Handler();
  }
  sConfigOC.OCMode = TIM_OCMODE_PWM1;
  sConfigOC.Pulse = 0;
  sConfigOC.OCPolarity = TIM_OCPOLARITY_HIGH;
  sConfigOC.OCFastMode = TIM_OCFAST_DISABLE;
  if (HAL_TIM_PWM_ConfigChannel(&htim3, &sConfigOC, TIM_CHANNEL_1) != HAL_OK)
  {
    Error_Handler();
  }
  HAL_TIM_MspPostInit(&htim3);

}

static void MX_TIM4_Init(void)
{

  TIM_ClockConfigTypeDef sClockSourceConfig = {0};
  TIM_MasterConfigTypeDef sMasterConfig = {0};
  TIM_OC_InitTypeDef sConfigOC = {0};

  htim4.Instance = TIM4;
  htim4.Init.Prescaler = 64;
  htim4.Init.CounterMode = TIM_COUNTERMODE_UP;
  htim4.Init.Period = 10000;
  htim4.Init.ClockDivision = TIM_CLOCKDIVISION_DIV1;
  htim4.Init.AutoReloadPreload = TIM_AUTORELOAD_PRELOAD_DISABLE;
  if (HAL_TIM_Base_Init(&htim4) != HAL_OK)
  {
    Error_Handler();
  }
  sClockSourceConfig.ClockSource = TIM_CLOCKSOURCE_INTERNAL;
  if (HAL_TIM_ConfigClockSource(&htim4, &sClockSourceConfig) != HAL_OK)
  {
    Error_Handler();
  }
  if (HAL_TIM_PWM_Init(&htim4) != HAL_OK)
  {
    Error_Handler();
  }
  sMasterConfig.MasterOutputTrigger = TIM_TRGO_RESET;
  sMasterConfig.MasterSlaveMode = TIM_MASTERSLAVEMODE_DISABLE;
  if (HAL_TIMEx_MasterConfigSynchronization(&htim4, &sMasterConfig) != HAL_OK)
  {
    Error_Handler();
  }
  sConfigOC.OCMode = TIM_OCMODE_PWM1;
  sConfigOC.Pulse = 0;
  sConfigOC.OCPolarity = TIM_OCPOLARITY_HIGH;
  sConfigOC.OCFastMode = TIM_OCFAST_DISABLE;
  if (HAL_TIM_PWM_ConfigChannel(&htim4, &sConfigOC, TIM_CHANNEL_1) != HAL_OK)
  {
    Error_Handler();
  }
  HAL_TIM_MspPostInit(&htim4);

}

static void MX_TIM10_Init(void)
{

  TIM_OC_InitTypeDef sConfigOC = {0};

  htim10.Instance = TIM10;
  htim10.Init.Prescaler = 6400;
  htim10.Init.CounterMode = TIM_COUNTERMODE_UP;
  htim10.Init.Period = 100;
  htim10.Init.ClockDivision = TIM_CLOCKDIVISION_DIV1;
  htim10.Init.AutoReloadPreload = TIM_AUTORELOAD_PRELOAD_DISABLE;
  if (HAL_TIM_Base_Init(&htim10) != HAL_OK)
  {
    Error_Handler();
  }
  if (HAL_TIM_PWM_Init(&htim10) != HAL_OK)
  {
    Error_Handler();
  }
  sConfigOC.OCMode = TIM_OCMODE_PWM1;
  sConfigOC.Pulse = 0;
  sConfigOC.OCPolarity = TIM_OCPOLARITY_HIGH;
  sConfigOC.OCFastMode = TIM_OCFAST_DISABLE;
  if (HAL_TIM_PWM_ConfigChannel(&htim10, &sConfigOC, TIM_CHANNEL_1) != HAL_OK)
  {
    Error_Handler();
  }
  HAL_TIM_MspPostInit(&htim10);

}

static void MX_UART4_Init(void)
{

  huart4.Instance = UART4;
  huart4.Init.BaudRate = 9600;
  huart4.Init.WordLength = UART_WORDLENGTH_8B;
  huart4.Init.StopBits = UART_STOPBITS_1;
  huart4.Init.Parity = UART_PARITY_NONE;
  huart4.Init.Mode = UART_MODE_TX_RX;
  huart4.Init.HwFlowCtl = UART_HWCONTROL_NONE;
  huart4.Init.OverSampling = UART_OVERSAMPLING_16;
  huart4.Init.OneBitSampling = UART_ONE_BIT_SAMPLE_DISABLE;
  huart4.AdvancedInit.AdvFeatureInit = UART_ADVFEATURE_NO_INIT;
  if (HAL_UART_Init(&huart4) != HAL_OK)
  {
    Error_Handler();
  }

}

static void MX_USART2_UART_Init(void)
{

  huart2.Instance = USART2;
  huart2.Init.BaudRate = 115200;
  huart2.Init.WordLength = UART_WORDLENGTH_8B;
  huart2.Init.StopBits = UART_STOPBITS_1;
  huart2.Init.Parity = UART_PARITY_NONE;
  huart2.Init.Mode = UART_MODE_TX_RX;
  huart2.Init.HwFlowCtl = UART_HWCONTROL_NONE;
  huart2.Init.OverSampling = UART_OVERSAMPLING_16;
  huart2.Init.OneBitSampling = UART_ONE_BIT_SAMPLE_DISABLE;
  huart2.AdvancedInit.AdvFeatureInit = UART_ADVFEATURE_NO_INIT;
  if (HAL_UART_Init(&huart2) != HAL_OK)
  {
    Error_Handler();
  }

}

static void MX_USART3_UART_Init(void)
{

  huart3.Instance = USART3;
  huart3.Init.BaudRate = 115200;
  huart3.Init.WordLength = UART_WORDLENGTH_8B;
  huart3.Init.StopBits = UART_STOPBITS_1;
  huart3.Init.Parity = UART_PARITY_NONE;
  huart3.Init.Mode = UART_MODE_TX_RX;
  huart3.Init.HwFlowCtl = UART_HWCONTROL_NONE;
  huart3.Init.OverSampling = UART_OVERSAMPLING_16;
  huart3.Init.OneBitSampling = UART_ONE_BIT_SAMPLE_DISABLE;
  huart3.AdvancedInit.AdvFeatureInit = UART_ADVFEATURE_NO_INIT;
  if (HAL_UART_Init(&huart3) != HAL_OK)
  {
    Error_Handler();
  }

}

static void MX_DMA_Init(void)
{

  /* DMA controller clock enable */
  __HAL_RCC_DMA1_CLK_ENABLE();
  __HAL_RCC_DMA2_CLK_ENABLE();

  /* DMA interrupt init */
  /* DMA1_Stream2_IRQn interrupt configuration */
  HAL_NVIC_SetPriority(DMA1_Stream2_IRQn, 0, 0);
  HAL_NVIC_EnableIRQ(DMA1_Stream2_IRQn);
  /* DMA1_Stream5_IRQn interrupt configuration */
  HAL_NVIC_SetPriority(DMA1_Stream5_IRQn, 0, 0);
  HAL_NVIC_EnableIRQ(DMA1_Stream5_IRQn);
  /* DMA2_Stream0_IRQn interrupt configuration */
  HAL_NVIC_SetPriority(DMA2_Stream0_IRQn, 0, 0);
  HAL_NVIC_EnableIRQ(DMA2_Stream0_IRQn);

}

static void MX_GPIO_Init(void)
{
  GPIO_InitTypeDef GPIO_InitStruct = {0};

  /* GPIO Ports Clock Enable */
  __HAL_RCC_GPIOE_CLK_ENABLE();
  __HAL_RCC_GPIOC_CLK_ENABLE();
  __HAL_RCC_GPIOF_CLK_ENABLE();
  __HAL_RCC_GPIOH_CLK_ENABLE();
  __HAL_RCC_GPIOA_CLK_ENABLE();
  __HAL_RCC_GPIOB_CLK_ENABLE();
  __HAL_RCC_GPIOD_CLK_ENABLE();
  __HAL_RCC_GPIOG_CLK_ENABLE();

  /*Configure GPIO pin Output Level */
  HAL_GPIO_WritePin(GPIOE, Status_LED1_Pin|Status_buzzer_Pin, GPIO_PIN_RESET);

  /*Configure GPIO pin Output Level */
  HAL_GPIO_WritePin(GPIOF, angle_0_Pin|Status_LED2_Pin, GPIO_PIN_RESET);

  /*Configure GPIO pin Output Level */
  HAL_GPIO_WritePin(GPIOB, LD3_Pin|LD2_Pin, GPIO_PIN_RESET);

  /*Configure GPIO pin Output Level */
  HAL_GPIO_WritePin(GPIOG, Status_LED_3_Pin|Status_LED_4_Pin|USB_PowerSwitchOn_Pin, GPIO_PIN_RESET);

  /*Configure GPIO pins : Status_LED1_Pin Status_buzzer_Pin */
  GPIO_InitStruct.Pin = Status_LED1_Pin|Status_buzzer_Pin;
  GPIO_InitStruct.Mode = GPIO_MODE_OUTPUT_PP;
  GPIO_InitStruct.Pull = GPIO_NOPULL;
  GPIO_InitStruct.Speed = GPIO_SPEED_FREQ_LOW;
  HAL_GPIO_Init(GPIOE, &GPIO_InitStruct);

  /*Configure GPIO pins : NotAus_Pin free_Button_2_Pin */
  GPIO_InitStruct.Pin = NotAus_Pin|free_Button_2_Pin;
  GPIO_InitStruct.Mode = GPIO_MODE_INPUT;
  GPIO_InitStruct.Pull = GPIO_PULLDOWN;
  HAL_GPIO_Init(GPIOE, &GPIO_InitStruct);

  /*Configure GPIO pin : USER_Btn_Pin */
  GPIO_InitStruct.Pin = USER_Btn_Pin;
  GPIO_InitStruct.Mode = GPIO_MODE_IT_RISING;
  GPIO_InitStruct.Pull = GPIO_NOPULL;
  HAL_GPIO_Init(USER_Btn_GPIO_Port, &GPIO_InitStruct);

  /*Configure GPIO pin : Counterrisingedge_Pin */
  GPIO_InitStruct.Pin = Counterrisingedge_Pin;
  GPIO_InitStruct.Mode = GPIO_MODE_IT_RISING;
  GPIO_InitStruct.Pull = GPIO_NOPULL;
  HAL_GPIO_Init(Counterrisingedge_GPIO_Port, &GPIO_InitStruct);

  /*Configure GPIO pins : angle_0_Pin Status_LED2_Pin */
  GPIO_InitStruct.Pin = angle_0_Pin|Status_LED2_Pin;
  GPIO_InitStruct.Mode = GPIO_MODE_OUTPUT_PP;
  GPIO_InitStruct.Pull = GPIO_NOPULL;
  GPIO_InitStruct.Speed = GPIO_SPEED_FREQ_LOW;
  HAL_GPIO_Init(GPIOF, &GPIO_InitStruct);

  /*Configure GPIO pin : Freigabe_Pin */
  GPIO_InitStruct.Pin = Freigabe_Pin;
  GPIO_InitStruct.Mode = GPIO_MODE_INPUT;
  GPIO_InitStruct.Pull = GPIO_PULLDOWN;
  HAL_GPIO_Init(Freigabe_GPIO_Port, &GPIO_InitStruct);

  /*Configure GPIO pins : Bluetooth_state_Pin photodiode1_Pin photodiode2_Pin */
  GPIO_InitStruct.Pin = Bluetooth_state_Pin|photodiode1_Pin|photodiode2_Pin;
  GPIO_InitStruct.Mode = GPIO_MODE_INPUT;
  GPIO_InitStruct.Pull = GPIO_NOPULL;
  HAL_GPIO_Init(GPIOF, &GPIO_InitStruct);

  /*Configure GPIO pin : angle_sync_Pin */
  GPIO_InitStruct.Pin = angle_sync_Pin;
  GPIO_InitStruct.Mode = GPIO_MODE_INPUT;
  GPIO_InitStruct.Pull = GPIO_PULLDOWN;
  HAL_GPIO_Init(angle_sync_GPIO_Port, &GPIO_InitStruct);

  /*Configure GPIO pins : LD3_Pin LD2_Pin */
  GPIO_InitStruct.Pin = LD3_Pin|LD2_Pin;
  GPIO_InitStruct.Mode = GPIO_MODE_OUTPUT_PP;
  GPIO_InitStruct.Pull = GPIO_NOPULL;
  GPIO_InitStruct.Speed = GPIO_SPEED_FREQ_LOW;
  HAL_GPIO_Init(GPIOB, &GPIO_InitStruct);

  /*Configure GPIO pins : Status_LED_3_Pin Status_LED_4_Pin */
  GPIO_InitStruct.Pin = Status_LED_3_Pin|Status_LED_4_Pin;
  GPIO_InitStruct.Mode = GPIO_MODE_OUTPUT_PP;
  GPIO_InitStruct.Pull = GPIO_NOPULL;
  GPIO_InitStruct.Speed = GPIO_SPEED_FREQ_LOW;
  HAL_GPIO_Init(GPIOG, &GPIO_InitStruct);

  /*Configure GPIO pin : USB_PowerSwitchOn_Pin */
  GPIO_InitStruct.Pin = USB_PowerSwitchOn_Pin;
  GPIO_InitStruct.Mode = GPIO_MODE_OUTPUT_PP;
  GPIO_InitStruct.Pull = GPIO_PULLDOWN;
  GPIO_InitStruct.Speed = GPIO_SPEED_FREQ_LOW;
  HAL_GPIO_Init(USB_PowerSwitchOn_GPIO_Port, &GPIO_InitStruct);

  /*Configure GPIO pin : USB_OverCurrent_Pin */
  GPIO_InitStruct.Pin = USB_OverCurrent_Pin;
  GPIO_InitStruct.Mode = GPIO_MODE_INPUT;
  GPIO_InitStruct.Pull = GPIO_NOPULL;
  HAL_GPIO_Init(USB_OverCurrent_GPIO_Port, &GPIO_InitStruct);

  /* EXTI interrupt init*/
  HAL_NVIC_SetPriority(EXTI0_IRQn, 0, 0);
  HAL_NVIC_EnableIRQ(EXTI0_IRQn);

}

/* USER CODE BEGIN 4 */
	void HAL_GPIO_EXTI_Callback(uint16_t GPIO_Pin)
{
  /* Prevent unused argument(s) compilation warning */
  UNUSED(GPIO_Pin);
	/* NOTE: This function Should not be modified, when the callback is needed,
           the HAL_GPIO_EXTI_Callback could be implemented in the user file
   */
  countspin++ ;
	}
	void HAL_TIM_PeriodElapsedCallback(TIM_HandleTypeDef *htim)
{
  /* Prevent unused argument(s) compilation warning */
  UNUSED(htim);
	spins = 1/((256*0.2)/countspin) ;
	spinstrans = spins*100 ;
	countspin=0;

  /* NOTE : This function should not be modified, when the callback is needed,
            the HAL_TIM_PeriodElapsedCallback could be implemented in the user file
   */
}

void HAL_UART_RxCpltCallback(UART_HandleTypeDef *huart)
{
  /* Prevent unused argument(s) compilation warning */
	bluebufferval++;

  /* NOTE : This function should not be modified, when the callback is needed,
            the HAL_UART_RxCpltCallback can be implemented in the user file.
   */
}

/* USER CODE END 4 */

void Error_Handler(void)
{
}

/************************ (C) COPYRIGHT STMicroelectronics *****END OF FILE****/
